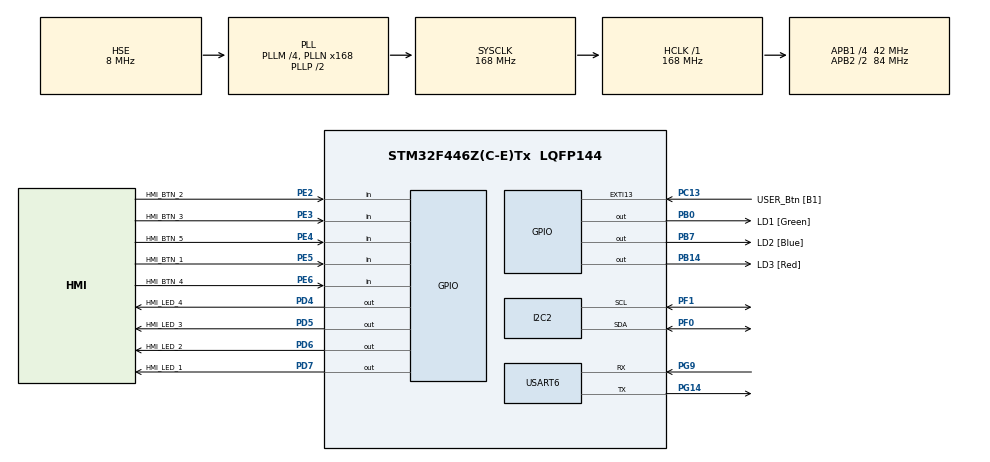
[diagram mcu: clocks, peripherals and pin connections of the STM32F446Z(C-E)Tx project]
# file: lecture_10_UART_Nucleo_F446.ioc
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Mcu.Family=STM32F4
Mcu.Name=STM32F446Z(C-E)Tx
Mcu.Package=LQFP144
NVIC.EXTI15_10_IRQn=true\:0\:0\:false\:false\:true\:true\:true\:true
NVIC.PriorityGroup=NVIC_PRIORITYGROUP_4
NVIC.USART6_IRQn=true\:0\:0\:false\:false\:true\:true\:true\:true
PA13.Mode=Serial_Wire
PA13.Signal=SYS_JTMS-SWDIO
PA14.Mode=Serial_Wire
PA14.Signal=SYS_JTCK-SWCLK
PB0.GPIO_Label=LD1 [Green]
PB0.Signal=GPIO_Output
PB14.GPIO_Label=LD3 [Red]
PB14.Signal=GPIO_Output
PB7.GPIO_Label=LD2 [Blue]
PB7.Signal=GPIO_Output
PC13.GPIO_Label=USER_Btn [B1]
PC13.Signal=GPXTI13
PC14-OSC32_IN.Mode=LSE-External-Oscillator
PC14-OSC32_IN.Signal=RCC_OSC32_IN
PC15-OSC32_OUT.Mode=LSE-External-Oscillator
PC15-OSC32_OUT.Signal=RCC_OSC32_OUT
PD4.GPIO_Label=HMI_LED_4
PD4.GPIO_ModeDefaultOutputPP=GPIO_MODE_OUTPUT_PP
PD4.GPIO_PuPd=GPIO_NOPULL
PD4.GPIO_Speed=GPIO_SPEED_FREQ_LOW
PD4.PinState=GPIO_PIN_RESET
PD4.Signal=GPIO_Output
PD5.GPIO_Label=HMI_LED_3
PD5.GPIO_ModeDefaultOutputPP=GPIO_MODE_OUTPUT_PP
PD5.GPIO_PuPd=GPIO_NOPULL
PD5.GPIO_Speed=GPIO_SPEED_FREQ_LOW
PD5.PinState=GPIO_PIN_RESET
PD5.Signal=GPIO_Output
PD6.GPIO_Label=HMI_LED_2
PD6.GPIO_ModeDefaultOutputPP=GPIO_MODE_OUTPUT_PP
PD6.GPIO_PuPd=GPIO_NOPULL
PD6.GPIO_Speed=GPIO_SPEED_FREQ_LOW
PD6.PinState=GPIO_PIN_RESET
PD6.Signal=GPIO_Output
PD7.GPIO_Label=HMI_LED_1
PD7.GPIO_ModeDefaultOutputPP=GPIO_MODE_OUTPUT_PP
PD7.GPIO_PuPd=GPIO_NOPULL
PD7.GPIO_Speed=GPIO_SPEED_FREQ_LOW
PD7.PinState=GPIO_PIN_RESET
PD7.Signal=GPIO_Output
PE2.GPIO_Label=HMI_BTN_2
PE2.GPIO_PuPd=GPIO_PULLDOWN
PE2.Signal=GPIO_Input
PE3.GPIO_Label=HMI_BTN_3
PE3.GPIO_PuPd=GPIO_PULLDOWN
PE3.Signal=GPIO_Input
PE4.GPIO_Label=HMI_BTN_5
PE4.GPIO_PuPd=GPIO_PULLDOWN
PE4.Signal=GPIO_Input
PE5.GPIO_Label=HMI_BTN_1
PE5.GPIO_PuPd=GPIO_PULLDOWN
PE5.Signal=GPIO_Input
PE6.GPIO_Label=HMI_BTN_4
PE6.GPIO_PuPd=GPIO_PULLDOWN
PE6.Signal=GPIO_Input
PF0.Mode=I2C
PF0.Signal=I2C2_SDA
PF1.Mode=I2C
PF1.Signal=I2C2_SCL
PG14.Mode=Asynchronous
PG14.Signal=USART6_TX
PG9.Mode=Asynchronous
PG9.Signal=USART6_RX
PH0-OSC_IN.Mode=HSE-External-Clock-Source
PH0-OSC_IN.Signal=RCC_OSC_IN
PH1-OSC_OUT.Mode=HSE-External-Clock-Source
PH1-OSC_OUT.Signal=RCC_OSC_OUT
ProjectManager.HeapSize=0x200
ProjectManager.StackSize=0x400
ProjectManager.TargetToolchain=STM32CubeIDE
RCC.48MHZClocksFreq_Value=24000000
RCC.AHBFreq_Value=168000000
RCC.APB1CLKDivider=RCC_HCLK_DIV4
RCC.APB1Freq_Value=42000000
RCC.APB1TimFreq_Value=84000000
RCC.APB2CLKDivider=RCC_HCLK_DIV2
RCC.APB2Freq_Value=84000000
RCC.APB2TimFreq_Value=168000000
RCC.CortexFreq_Value=168000000
RCC.HCLKFreq_Value=168000000
RCC.HSE_VALUE=8000000
RCC.HSI_VALUE=16000000
RCC.PLLM=4
RCC.PLLMUL=RCC_PLL_MUL9
RCC.PLLN=168
RCC.PLLQ=7
RCC.PLLSourceVirtual=RCC_PLLSOURCE_HSE
RCC.PRESCALERUSB=RCC_USBCLKSOURCE_PLL_DIV1_5
RCC.SYSCLKFreq_VALUE=168000000
RCC.SYSCLKSource=RCC_SYSCLKSOURCE_PLLCLK
RCC.SYSCLKSourceVirtual=RCC_SYSCLKSOURCE_PLLCLK
RCC.USBFreq_Value=48000000
RCC.VCOOutputFreq_Value=336000000
USART6.VirtualMode=VM_ASYNC
board=NUCLEO-F446ZE

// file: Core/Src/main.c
/* USER CODE BEGIN Header */
/**
  ******************************************************************************
  * @file           : main.c
  * @brief          : Main program body
  ******************************************************************************
  * @attention
  *
  * Copyright (c) 2024 STMicroelectronics.
  * All rights reserved.
  *
  * This software is licensed under terms that can be found in the LICENSE file
  * in the root directory of this software component.
  * If no LICENSE file comes with this software, it is provided AS-IS.
  *
  ******************************************************************************
  */
/* USER CODE END Header */
#include "main.h"
#include "i2c.h"
#include "usart.h"
#include "gpio.h"

/* USER CODE BEGIN Includes */
#include "OLED.h"
/* USER CODE END Includes */

/* USER CODE BEGIN PD */

// Width of the snake
#define WIDTH 1

// UART receive timeout (ms)
#define UART_RX_TIMEOUT 200

// UART transmit timeout (ms)
#define UART_TX_TIMEOUT 100

// Button definition
#define BTN_UP_GPIO_Port 	HMI_BTN_1_GPIO_Port
#define BTN_UP_Pin		 	HMI_BTN_1_Pin
#define BTN_DOWN_GPIO_Port  HMI_BTN_5_GPIO_Port
#define BTN_DOWN_Pin		HMI_BTN_5_Pin
#define BTN_LEFT_GPIO_Port  HMI_BTN_2_GPIO_Port
#define BTN_LEFT_Pin		HMI_BTN_2_Pin
#define BTN_RIGHT_GPIO_Port HMI_BTN_4_GPIO_Port
#define BTN_RIGHT_Pin		HMI_BTN_4_Pin
#define BTN_RESET_GPIO_Port HMI_BTN_3_GPIO_Port
#define BTN_RESET_Pin		HMI_BTN_3_Pin

// Clear the display
#define RESET_COMMAND		0x10

/* USER CODE END PD */

/* USER CODE BEGIN PV */

typedef enum {
	Up    = 1,
	Down  = 2,
	Left  = 4,
	Right = 8
} Direction;

/* USER CODE END PV */

void SystemClock_Config(void);

int main(void)
{

  /* MCU Configuration--------------------------------------------------------*/

  /* Reset of all peripherals, Initializes the Flash interface and the Systick. */
  HAL_Init();

  /* Configure the system clock */
  SystemClock_Config();

  /* Initialize all configured peripherals */
  MX_GPIO_Init();
  MX_I2C2_Init();
  MX_USART6_UART_Init();
  /* USER CODE BEGIN 2 */

  uint8_t x_position = OLED_WIDTH / 2;
  uint8_t y_position = OLED_HEIGHT / 2;
  uint8_t tx_data_byte = 0;
  uint8_t rx_data_byte = 0;
  int8_t x_velocity = 0;
  int8_t y_velocity = 0;

  OLED_COLOR bg_color = White;
  OLED_COLOR draw_color = Black;

  OLED_Init();
  OLED_SetDisplayOn(1);
  OLED_Fill(bg_color);
  OLED_DrawRectangle(x_position, y_position , x_position + WIDTH, y_position + WIDTH, draw_color);
  OLED_UpdateScreen();

  /* USER CODE END 2 */

  /* Infinite loop */
  while (1)
  {

    /* USER CODE BEGIN 3 */

	  tx_data_byte = 0;
	  rx_data_byte = 0;

	  // Read the background colour and drawing colour toggle button
	  if (HAL_GPIO_ReadPin(BTN_RESET_GPIO_Port, BTN_RESET_Pin))
	  {
		  tx_data_byte |= RESET_COMMAND;
		  // Toggle the drawing and background colour
		  if (bg_color == White)
		  {
			  bg_color = Black;
			  draw_color = White;
		  }
		  else
		  {
			  bg_color = White;
			  draw_color = Black;
		  }
		  OLED_Fill(bg_color);
	  }

	  // Read the status of the direction buttons
	  x_velocity=0;
	  y_velocity=0;
	  if (HAL_GPIO_ReadPin(BTN_UP_GPIO_Port, BTN_UP_Pin))
	  {
		  y_velocity = -1;
		  tx_data_byte |= Up;
	  }
	  if (HAL_GPIO_ReadPin(BTN_DOWN_GPIO_Port, BTN_DOWN_Pin))
	  {
		  y_velocity = 1;
		  tx_data_byte |= Down;
	  }
	  if (HAL_GPIO_ReadPin(BTN_LEFT_GPIO_Port, BTN_LEFT_Pin))
	  {
		  x_velocity = -1;
		  tx_data_byte |= Left;
	  }
	  if (HAL_GPIO_ReadPin(BTN_RIGHT_GPIO_Port, BTN_RIGHT_Pin))
	  {
		  x_velocity = 1;
		  tx_data_byte |= Right;
	  }

	  // Transmit and receive data

	  HAL_UART_Transmit(&huart6, &tx_data_byte, 1, UART_TX_TIMEOUT);
	  HAL_UART_Receive(&huart6, &rx_data_byte, 1, UART_RX_TIMEOUT);

	  // Toggle the drawing and background colour based on the received data
	  if(rx_data_byte & RESET_COMMAND)
	  {
		  // Toggle the drawing and background colour
		  if (bg_color==White)
		  {
			  bg_color = Black;
			  draw_color = White;
		  }
		  else
		  {
			  bg_color = White;
			  draw_color = Black;
		  }
		  OLED_Fill(bg_color);
	  }

	  // Set the speed based on the received data
	  if(rx_data_byte & Up)
	  {
		  y_velocity += -1;
	  }
	  if(rx_data_byte & Down)
	  {
		  y_velocity += 1;
	  }
	  if(rx_data_byte & Left)
	  {
		  x_velocity += -1;
	  }
	  if(rx_data_byte & Right)
	  {
		  x_velocity += 1;
	  }

	  // Set the next position based on the velocity
	  if((x_position + x_velocity > 0) && (x_position + x_velocity < OLED_WIDTH))
	  {
		  x_position = x_position + x_velocity;
	  }
	  if((y_position + y_velocity > 0) && (y_position + y_velocity < OLED_HEIGHT))
	  {
		  y_position = y_position + y_velocity;
	  }

	  // Drawing
	  OLED_DrawRectangle(x_position, y_position , x_position + WIDTH, y_position + WIDTH, draw_color);
	  OLED_UpdateScreen();

	  // Heartbeat signal
	  HAL_GPIO_TogglePin(HMI_LED_3_GPIO_Port, HMI_LED_3_Pin);
  }
  /* USER CODE END 3 */
}

void SystemClock_Config(void)
{
  RCC_OscInitTypeDef RCC_OscInitStruct = {0};
  RCC_ClkInitTypeDef RCC_ClkInitStruct = {0};

  /** Configure the main internal regulator output voltage
  */
  __HAL_RCC_PWR_CLK_ENABLE();
  __HAL_PWR_VOLTAGESCALING_CONFIG(PWR_REGULATOR_VOLTAGE_SCALE1);

  /** Initializes the RCC Oscillators according to the specified parameters
  * in the RCC_OscInitTypeDef structure.
  */
  RCC_OscInitStruct.OscillatorType = RCC_OSCILLATORTYPE_HSE;
  RCC_OscInitStruct.HSEState = RCC_HSE_BYPASS;
  RCC_OscInitStruct.PLL.PLLState = RCC_PLL_ON;
  RCC_OscInitStruct.PLL.PLLSource = RCC_PLLSOURCE_HSE;
  RCC_OscInitStruct.PLL.PLLM = 4;
  RCC_OscInitStruct.PLL.PLLN = 168;
  RCC_OscInitStruct.PLL.PLLP = RCC_PLLP_DIV2;
  RCC_OscInitStruct.PLL.PLLQ = 7;
  RCC_OscInitStruct.PLL.PLLR = 2;
  if (HAL_RCC_OscConfig(&RCC_OscInitStruct) != HAL_OK)
  {
    Error_Handler();
  }

  /** Initializes the CPU, AHB and APB buses clocks
  */
  RCC_ClkInitStruct.ClockType = RCC_CLOCKTYPE_HCLK|RCC_CLOCKTYPE_SYSCLK
                              |RCC_CLOCKTYPE_PCLK1|RCC_CLOCKTYPE_PCLK2;
  RCC_ClkInitStruct.SYSCLKSource = RCC_SYSCLKSOURCE_PLLCLK;
  RCC_ClkInitStruct.AHBCLKDivider = RCC_SYSCLK_DIV1;
  RCC_ClkInitStruct.APB1CLKDivider = RCC_HCLK_DIV4;
  RCC_ClkInitStruct.APB2CLKDivider = RCC_HCLK_DIV2;

  if (HAL_RCC_ClockConfig(&RCC_ClkInitStruct, FLASH_LATENCY_5) != HAL_OK)
  {
    Error_Handler();
  }
}

void Error_Handler(void)
{
  __disable_irq();
  while (1)
  {
  }
}
